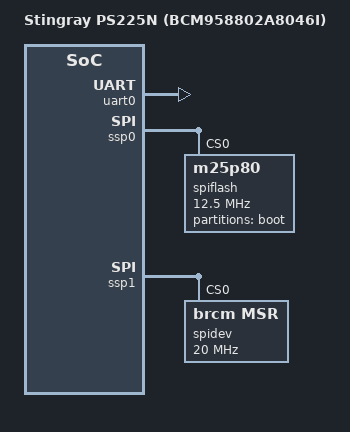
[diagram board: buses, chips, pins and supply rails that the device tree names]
// SPDX-License-Identifier: (GPL-2.0 or BSD-3-Clause)
/*
 *  Copyright(c) 2018 Broadcom
 */

/dts-v1/;

#define NUM_CRYPTO	32
#define NUM_RAID	0
#define ENABLE_ENET	0
#define ENABLE_MDIO	0
#define ENABLE_USB1	0
#define ENABLE_I2C0	1
#define ENABLE_SSP0	1
#define ENABLE_SSP1	1

#include "../../stingray-board-base.dtsi"

/ {
	model = "Stingray PS225N (BCM958802A8046I)";

	chosen {
		stdout-path = "serial1:115200n8";
	};
};

&sdio0 {
	no-1-8-v;
};

&uart0 {
	status = "okay";
};

&ssp0 {
	status = "okay";
	num-cs = <1>;

	spiflash: m25p80@0 {
		#address-cells = <1>;
		#size-cells = <1>;
		compatible = "m25p80";
		reg = <0x0>;
		spi-max-frequency = <12500000>;
		m25p,fast-read;
		spi-cpol;
		spi-cpha;

		partition@0 {
			label = "boot";
			reg = <0x00000000 0x100000>;
		};
	};
};

&ssp1 {
	status = "okay";
	num-cs = <1>;

	spidev@0 {
		compatible = "brcm,msr";
		spi-max-frequency = <20000000>;
		reg = <0>;
	};
};
